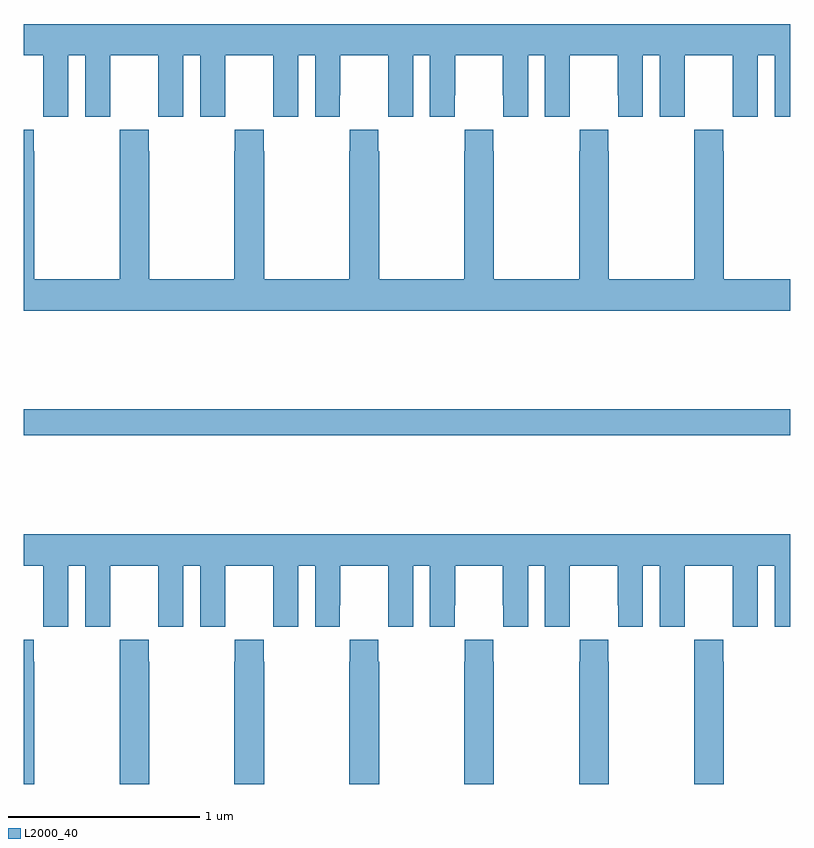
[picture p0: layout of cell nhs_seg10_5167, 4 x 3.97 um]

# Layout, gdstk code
import gdstk
lib = gdstk.Library(unit=1e-6, precision=1e-09)
def R(c, l, rs):  # rectangles x0, y0, x1, y1
    for r in rs: c.add(gdstk.rectangle(r[:2], r[2:], *l))
def P(c, l, *ps):  # polygons
    for p in ps: c.add(gdstk.Polygon(p, *l))
L2000_40 = (2000, 40)

nhs_seg10_5167 = lib.new_cell('nhs_seg10_5167')
R(nhs_seg10_5167, L2000_40, [(411,1310.32,415,1310.456)])
P(nhs_seg10_5167, L2000_40, [(411.232,1312.304),(411.32,1312.304),(411.32,1311.984),(411.45,1311.984),(411.45,1312.096),(411.451,1312.096),(411.451,1312.304),(411.701,1312.304),(411.701,1312.096),(411.702,1312.096),(411.702,1311.984),(411.832,1311.984),(411.832,1312.304),(411.92,1312.304),(411.92,1311.984),(412.05,1311.984),(412.05,1312.096),(412.051,1312.096),(412.051,1312.304),(412.301,1312.304),(412.301,1312.096),(412.302,1312.096),(412.302,1311.984),(412.432,1311.984),(412.432,1312.304),(412.52,1312.304),(412.52,1311.984),(412.65,1311.984),(412.65,1312.096),(412.651,1312.096),(412.651,1312.304),(412.901,1312.304),(412.901,1312.096),(412.902,1312.096),(412.902,1311.984),(413.032,1311.984),(413.032,1312.304),(413.12,1312.304),(413.12,1311.984),(413.25,1311.984),(413.25,1312.096),(413.251,1312.096),(413.251,1312.304),(413.501,1312.304),(413.501,1312.096),(413.502,1312.096),(413.502,1311.984),(413.632,1311.984),(413.632,1312.304),(413.72,1312.304),(413.72,1311.984),(413.85,1311.984),(413.85,1312.096),(413.851,1312.096),(413.851,1312.304),(414.101,1312.304),(414.101,1312.096),(414.102,1312.096),(414.102,1311.984),(414.232,1311.984),(414.232,1312.304),(414.32,1312.304),(414.32,1311.984),(414.45,1311.984),(414.45,1312.096),(414.451,1312.096),(414.451,1312.304),(414.701,1312.304),(414.701,1312.096),(414.702,1312.096),(414.702,1311.984),(414.832,1311.984),(414.832,1312.304),(414.92,1312.304),(414.92,1311.984),(415,1311.984),(415,1312.468),(411,1312.468),(411,1312.304),(411.101,1312.304),(411.101,1312.096),(411.102,1312.096),(411.102,1311.984),(411.232,1311.984)],
  [(415,1311.136),(414.654,1311.136),(414.654,1311.803),(414.651,1311.803),(414.651,1311.916),(414.501,1311.916),(414.501,1311.803),(414.499,1311.803),(414.499,1311.136),(414.054,1311.136),(414.054,1311.803),(414.051,1311.803),(414.051,1311.916),(413.901,1311.916),(413.901,1311.803),(413.899,1311.803),(413.899,1311.136),(413.454,1311.136),(413.454,1311.803),(413.451,1311.803),(413.451,1311.916),(413.301,1311.916),(413.301,1311.803),(413.299,1311.803),(413.299,1311.136),(412.854,1311.136),(412.854,1311.803),(412.851,1311.803),(412.851,1311.916),(412.701,1311.916),(412.701,1311.803),(412.699,1311.803),(412.699,1311.136),(412.254,1311.136),(412.254,1311.803),(412.251,1311.803),(412.251,1311.916),(412.101,1311.916),(412.101,1311.803),(412.099,1311.803),(412.099,1311.136),(411.654,1311.136),(411.654,1311.803),(411.651,1311.803),(411.651,1311.916),(411.501,1311.916),(411.501,1311.803),(411.499,1311.803),(411.499,1311.136),(411.054,1311.136),(411.054,1311.803),(411.051,1311.803),(411.051,1311.916),(411,1311.916),(411,1310.972),(415,1310.972)],
  [(411.232,1309.64),(411.32,1309.64),(411.32,1309.32),(411.45,1309.32),(411.45,1309.432),(411.451,1309.432),(411.451,1309.64),(411.701,1309.64),(411.701,1309.432),(411.702,1309.432),(411.702,1309.32),(411.832,1309.32),(411.832,1309.64),(411.92,1309.64),(411.92,1309.32),(412.05,1309.32),(412.05,1309.432),(412.051,1309.432),(412.051,1309.64),(412.301,1309.64),(412.301,1309.432),(412.302,1309.432),(412.302,1309.32),(412.432,1309.32),(412.432,1309.64),(412.52,1309.64),(412.52,1309.32),(412.65,1309.32),(412.65,1309.432),(412.651,1309.432),(412.651,1309.64),(412.901,1309.64),(412.901,1309.432),(412.902,1309.432),(412.902,1309.32),(413.032,1309.32),(413.032,1309.64),(413.12,1309.64),(413.12,1309.32),(413.25,1309.32),(413.25,1309.432),(413.251,1309.432),(413.251,1309.64),(413.501,1309.64),(413.501,1309.432),(413.502,1309.432),(413.502,1309.32),(413.632,1309.32),(413.632,1309.64),(413.72,1309.64),(413.72,1309.32),(413.85,1309.32),(413.85,1309.432),(413.851,1309.432),(413.851,1309.64),(414.101,1309.64),(414.101,1309.432),(414.102,1309.432),(414.102,1309.32),(414.232,1309.32),(414.232,1309.64),(414.32,1309.64),(414.32,1309.32),(414.45,1309.32),(414.45,1309.432),(414.451,1309.432),(414.451,1309.64),(414.701,1309.64),(414.701,1309.432),(414.702,1309.432),(414.702,1309.32),(414.832,1309.32),(414.832,1309.64),(414.92,1309.64),(414.92,1309.32),(415,1309.32),(415,1309.804),(411,1309.804),(411,1309.64),(411.101,1309.64),(411.101,1309.432),(411.102,1309.432),(411.102,1309.32),(411.232,1309.32)],
  [(412.854,1309.139),(412.851,1309.139),(412.851,1309.252),(412.701,1309.252),(412.701,1309.139),(412.699,1309.139),(412.699,1308.5),(412.854,1308.5)],
  [(412.254,1309.139),(412.251,1309.139),(412.251,1309.252),(412.101,1309.252),(412.101,1309.139),(412.099,1309.139),(412.099,1308.5),(412.254,1308.5)],
  [(413.454,1309.139),(413.451,1309.139),(413.451,1309.252),(413.301,1309.252),(413.301,1309.139),(413.299,1309.139),(413.299,1308.5),(413.454,1308.5)],
  [(414.054,1309.139),(414.051,1309.139),(414.051,1309.252),(413.901,1309.252),(413.901,1309.139),(413.899,1309.139),(413.899,1308.5),(414.054,1308.5)],
  [(414.654,1309.139),(414.651,1309.139),(414.651,1309.252),(414.501,1309.252),(414.501,1309.139),(414.499,1309.139),(414.499,1308.5),(414.654,1308.5)],
  [(411.054,1309.139),(411.051,1309.139),(411.051,1309.252),(411,1309.252),(411,1308.5),(411.054,1308.5)],
  [(411.654,1309.139),(411.651,1309.139),(411.651,1309.252),(411.501,1309.252),(411.501,1309.139),(411.499,1309.139),(411.499,1308.5),(411.654,1308.5)])

lib.write_gds('nhs_seg10_5167.gds')
